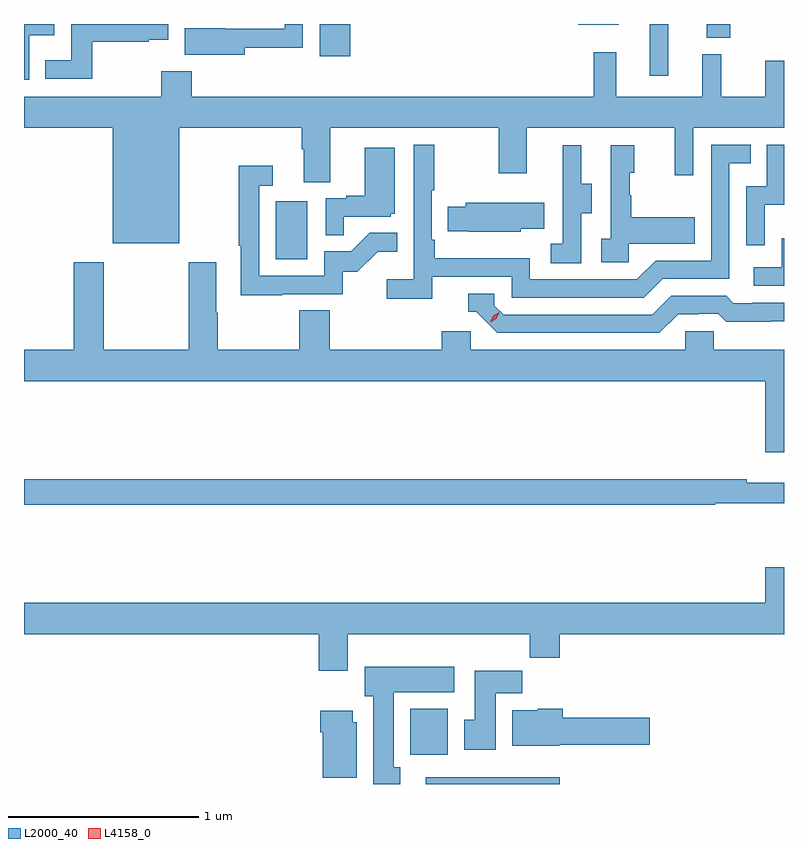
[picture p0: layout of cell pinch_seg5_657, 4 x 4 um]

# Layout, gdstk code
import gdstk
lib = gdstk.Library(unit=1e-6, precision=1e-09)
def R(c, l, rs):  # rectangles x0, y0, x1, y1
    for r in rs: c.add(gdstk.rectangle(r[:2], r[2:], *l))
def P(c, l, *ps):  # polygons
    for p in ps: c.add(gdstk.Polygon(p, *l))
L2000_40 = (2000, 40)
L4158_0 = (4158, 0)

pinch_seg5_657 = lib.new_cell('pinch_seg5_657')
R(pinch_seg5_657, L2000_40, [(1062.323,837.323,1063.028,837.358), (1062.242,837.476,1062.439,837.718), (1061.534,840.084,1061.698,840.391), (1063.502,841.05,1063.599,841.323), (1061.765,841.152,1061.926,841.323), (1063.802,841.25,1063.924,841.323), (1063.124,841.319,1063.339,841.323)])
P(pinch_seg5_657, L2000_40, [(1060.567,841.23),(1060.865,841.23),(1060.865,841.241),(1060.968,841.241),(1060.968,841.323),(1060.456,841.323),(1060.456,841.132),(1060.321,841.132),(1060.321,841.035),(1060.567,841.035)],
  [(1060.236,841.265),(1060.368,841.265),(1060.368,841.323),(1060.208,841.323),(1060.208,841.029),(1060.236,841.029)],
  [(1061.371,841.198),(1061.676,841.198),(1061.676,841.323),(1061.58,841.323),(1061.58,841.299),(1061.267,841.299),(1061.267,841.3),(1061.053,841.3),(1061.053,841.16),(1061.371,841.16)],
  [(1063.325,841.174),(1063.207,841.174),(1063.207,840.94),(1061.09,840.94),(1061.09,841.075),(1060.93,841.075),(1060.93,840.94),(1060.208,840.94),(1060.208,840.776),(1060.676,840.776),(1060.676,840.17),(1061.026,840.17),(1061.026,840.776),(1061.669,840.776),(1061.669,840.664),(1061.681,840.664),(1061.681,840.49),(1061.821,840.49),(1061.821,840.776),(1062.706,840.776),(1062.706,840.537),(1062.853,840.537),(1062.853,840.776),(1063.634,840.776),(1063.634,840.528),(1063.731,840.528),(1063.731,840.776),(1064.208,840.776),(1064.208,841.129),(1064.108,841.129),(1064.108,840.94),(1063.878,840.94),(1063.878,841.165),(1063.778,841.165),(1063.778,840.94),(1063.325,840.94)],
  [(1062.356,839.994),(1062.774,839.994),(1062.774,839.883),(1063.471,839.883),(1063.57,839.982),(1063.92,839.982),(1063.92,840.591),(1064.033,840.591),(1064.033,840.687),(1063.824,840.687),(1063.824,840.078),(1063.533,840.078),(1063.434,839.979),(1062.87,839.979),(1062.87,840.091),(1062.371,840.091),(1062.371,840.187),(1062.354,840.187),(1062.354,840.448),(1062.367,840.448),(1062.367,840.688),(1062.258,840.688),(1062.258,839.98),(1062.117,839.98),(1062.117,839.878),(1062.356,839.878)],
  [(1064.106,840.371),(1064.208,840.371),(1064.208,840.687),(1064.118,840.687),(1064.118,840.468),(1064.01,840.468),(1064.01,840.159),(1064.106,840.159)],
  [(1063.392,840.167),(1063.739,840.167),(1063.739,840.307),(1063.405,840.307),(1063.405,840.422),(1063.395,840.422),(1063.395,840.54),(1063.42,840.54),(1063.42,840.685),(1063.296,840.685),(1063.296,840.194),(1063.245,840.194),(1063.245,840.069),(1063.392,840.069)],
  [(1063.14,840.328),(1063.195,840.328),(1063.195,840.483),(1063.141,840.483),(1063.141,840.685),(1063.043,840.685),(1063.043,840.471),(1063.044,840.471),(1063.044,840.167),(1062.981,840.167),(1062.981,840.064),(1063.14,840.064)],
  [(1061.891,840.309),(1062.138,840.309),(1062.138,840.324),(1062.16,840.324),(1062.16,840.673),(1062.002,840.673),(1062.002,840.418),(1061.903,840.418),(1061.903,840.405),(1061.796,840.405),(1061.796,840.211),(1061.891,840.211)],
  [(1061.567,839.901),(1061.886,839.901),(1061.886,840.018),(1061.962,840.018),(1062.069,840.125),(1062.173,840.125),(1062.173,840.224),(1062.029,840.224),(1061.931,840.126),(1061.787,840.126),(1061.787,839.997),(1061.445,839.997),(1061.445,840.471),(1061.518,840.471),(1061.518,840.577),(1061.337,840.577),(1061.337,840.157),(1061.349,840.157),(1061.349,839.896),(1061.567,839.896)],
  [(1062.822,840.245),(1062.947,840.245),(1062.947,840.382),(1062.533,840.382),(1062.533,840.36),(1062.439,840.36),(1062.439,840.231),(1062.55,840.231),(1062.55,840.23),(1062.822,840.23)],
  [(1064.208,840.196),(1064.196,840.196),(1064.196,840.042),(1064.049,840.042),(1064.049,839.946),(1064.208,839.946)],
  [(1064.208,839.608),(1063.839,839.608),(1063.839,839.706),(1063.689,839.706),(1063.689,839.608),(1062.558,839.608),(1062.558,839.706),(1062.407,839.706),(1062.407,839.608),(1061.816,839.608),(1061.816,839.816),(1061.656,839.816),(1061.656,839.608),(1061.229,839.608),(1061.229,839.804),(1061.221,839.804),(1061.221,840.07),(1061.074,840.07),(1061.074,839.608),(1060.629,839.608),(1060.629,840.07),(1060.469,840.07),(1060.469,839.608),(1060.208,839.608),(1060.208,839.444),(1064.108,839.444),(1064.108,839.07),(1064.208,839.07)],
  [(1063.651,839.796),(1063.758,839.796),(1063.758,839.799),(1063.861,839.799),(1063.903,839.757),(1064.136,839.757),(1064.136,839.759),(1064.208,839.759),(1064.208,839.856),(1064.041,839.856),(1064.041,839.853),(1063.942,839.853),(1063.903,839.892),(1063.614,839.892),(1063.515,839.793),(1062.732,839.793),(1062.684,839.841),(1062.684,839.904),(1062.545,839.904),(1062.545,839.808),(1062.588,839.808),(1062.699,839.697),(1063.552,839.697)],
  [(1063.845,838.8),(1064.208,838.8),(1064.208,838.909),(1064.012,838.909),(1064.012,838.928),(1060.208,838.928),(1060.208,838.792),(1063.845,838.792)],
  [(1061.911,838.112),(1062.871,838.112),(1062.871,837.988),(1063.028,837.988),(1063.028,838.112),(1064.208,838.112),(1064.208,838.465),(1064.108,838.465),(1064.108,838.276),(1060.208,838.276),(1060.208,838.112),(1061.759,838.112),(1061.759,837.918),(1061.911,837.918)],
  [(1062.187,837.41),(1062.154,837.41),(1062.154,837.806),(1062.472,837.806),(1062.472,837.94),(1062.002,837.94),(1062.002,837.786),(1062.047,837.786),(1062.047,837.323),(1062.187,837.323)],
  [(1062.691,837.8),(1062.83,837.8),(1062.83,837.919),(1062.581,837.919),(1062.581,837.66),(1062.524,837.66),(1062.524,837.504),(1062.691,837.504)],
  [(1063.026,837.53),(1063.501,837.53),(1063.501,837.672),(1063.043,837.672),(1063.043,837.718),(1062.912,837.718),(1062.912,837.712),(1062.779,837.712),(1062.779,837.524),(1063.026,837.524)],
  [(1061.959,837.648),(1061.938,837.648),(1061.938,837.709),(1061.768,837.709),(1061.768,837.596),(1061.78,837.596),(1061.78,837.356),(1061.959,837.356)])
P(pinch_seg5_657, L4158_0, [(1062.662,839.754),(1062.662,839.754),(1062.678,839.787),(1062.709,839.806),(1062.709,839.806),(1062.709,839.806),(1062.693,839.773),(1062.662,839.754)])

lib.write_gds('pinch_seg5_657.gds')
